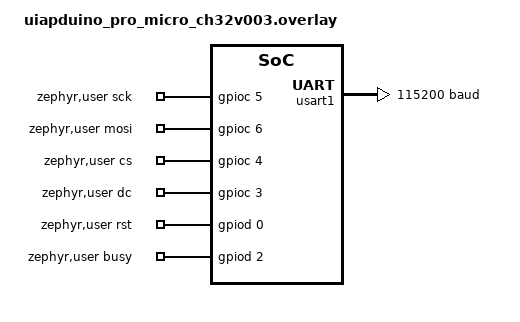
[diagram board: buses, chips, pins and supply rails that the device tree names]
/*
 * PixPaper 2.13" mono panel wiring for UIAPduino Pro Micro CH32V003.
 * Same pins as the Arduino port:
 *   DIN->PC6  CLK->PC5  CS->PC4  DC->PC3  RST->PD0  BUSY->PD2
 * SPI is bit-banged over plain GPIOs (the panel is slow and write-only), so
 * everything is declared in the app-private zephyr,user node.
 */

#include <zephyr/dt-bindings/gpio/gpio.h>
#include <zephyr/dt-bindings/pinctrl/ch32v003-pinctrl.h>

/ {
	zephyr,user {
		sck-gpios  = <&gpioc 5 GPIO_ACTIVE_HIGH>;
		mosi-gpios = <&gpioc 6 GPIO_ACTIVE_HIGH>;
		cs-gpios   = <&gpioc 4 GPIO_ACTIVE_HIGH>;
		dc-gpios   = <&gpioc 3 GPIO_ACTIVE_HIGH>;
		rst-gpios  = <&gpiod 0 GPIO_ACTIVE_HIGH>;
		busy-gpios = <&gpiod 2 GPIO_ACTIVE_HIGH>;
	};
};

/* the board DTS only enables GPIOC; RST/BUSY live on port D */
&gpiod {
	status = "okay";
};

/* console UART: TX = PD5 (silkscreen "TX"), RX = PD6 ("RX"), 115200 8N1.
 * Needs an external 3.3V USB-UART dongle - the board's USB-C is only the
 * bootloader; the running app has no USB. */
&pinctrl {
	usart1_default: usart1_default {
		group1 {
			pinmux = <USART1_TX_PD5_0>;
			output-high;
			drive-push-pull;
			slew-rate = "max-speed-10mhz";
		};
		group2 {
			pinmux = <USART1_RX_PD6_0>;
			bias-pull-up;
		};
	};
};

&usart1 {
	status = "okay";
	current-speed = <115200>;
	pinctrl-0 = <&usart1_default>;
	pinctrl-names = "default";
};
